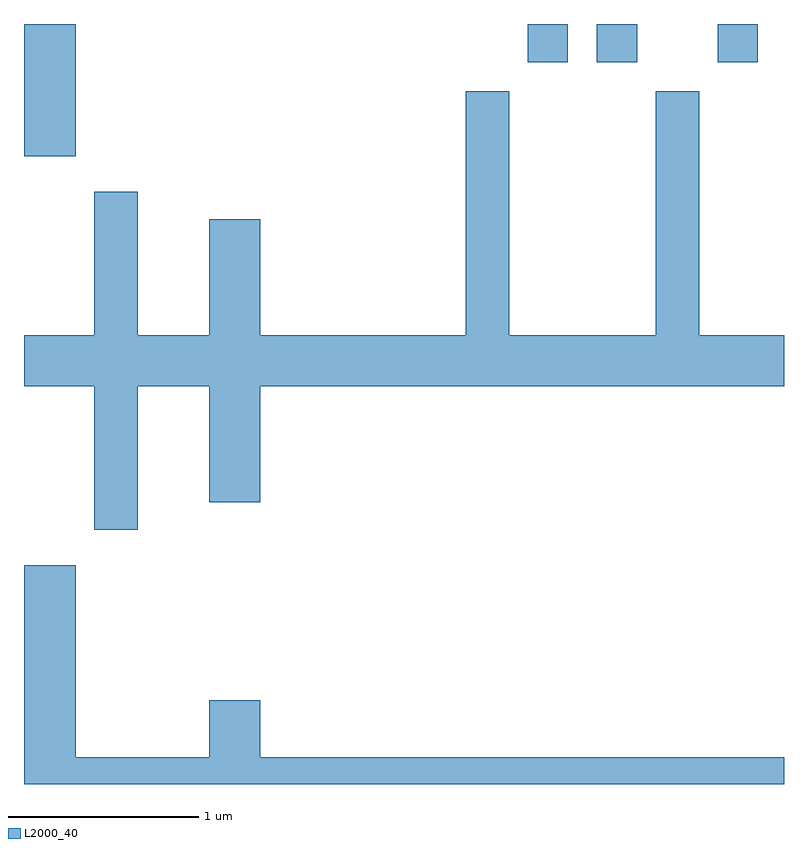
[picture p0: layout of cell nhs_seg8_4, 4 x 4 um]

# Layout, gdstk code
import gdstk
lib = gdstk.Library(unit=1e-6, precision=1e-09)
def R(c, l, rs):  # rectangles x0, y0, x1, y1
    for r in rs: c.add(gdstk.rectangle(r[:2], r[2:], *l))
def P(c, l, *ps):  # polygons
    for p in ps: c.add(gdstk.Polygon(p, *l))
L2000_40 = (2000, 40)

nhs_seg8_4 = lib.new_cell('nhs_seg8_4')
R(nhs_seg8_4, L2000_40, [(185.611,1817.646,185.884,1818.342), (188.261,1818.141,188.474,1818.342), (188.626,1818.141,188.839,1818.342), (189.261,1818.141,189.474,1818.342)])
P(nhs_seg8_4, L2000_40, [(186.209,1816.436),(186.586,1816.436),(186.586,1815.826),(186.854,1815.826),(186.854,1816.436),(189.611,1816.436),(189.611,1816.704),(189.164,1816.704),(189.164,1817.989),(188.936,1817.989),(188.936,1816.704),(188.164,1816.704),(188.164,1817.989),(187.936,1817.989),(187.936,1816.704),(186.854,1816.704),(186.854,1817.314),(186.586,1817.314),(186.586,1816.704),(186.209,1816.704),(186.209,1817.459),(185.981,1817.459),(185.981,1816.704),(185.611,1816.704),(185.611,1816.436),(185.981,1816.436),(185.981,1815.681),(186.209,1815.681)],
  [(189.611,1814.484),(186.854,1814.484),(186.854,1814.784),(186.586,1814.784),(186.586,1814.484),(185.884,1814.484),(185.884,1815.494),(185.611,1815.494),(185.611,1814.342),(189.611,1814.342)])

lib.write_gds('nhs_seg8_4.gds')
